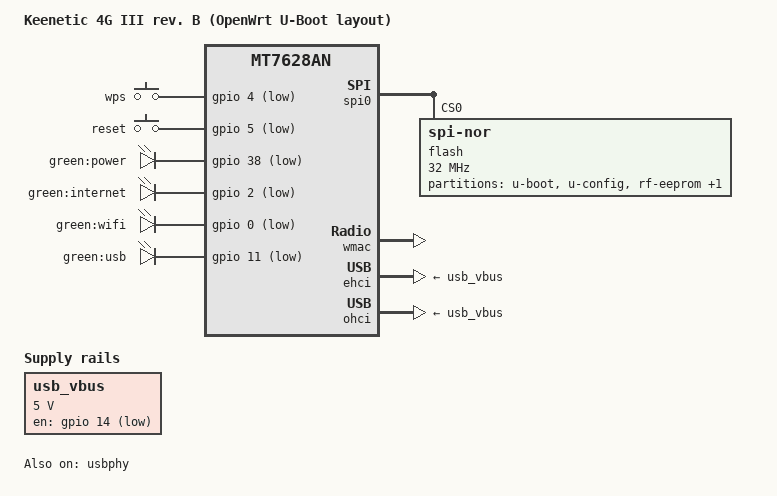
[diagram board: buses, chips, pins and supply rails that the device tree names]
#include "mt7628an.dtsi"

#include <dt-bindings/gpio/gpio.h>
#include <dt-bindings/input/input.h>

/ {
	compatible = "zyxel,keenetic-4g-iii-b-ubootmod", "mediatek,mt7628an-soc";
	model = "Keenetic 4G III rev. B (OpenWrt U-Boot layout)";

	aliases {
		led-boot = &led_power;
		led-failsafe = &led_power;
		led-running = &led_power;
		led-upgrade = &led_power;
	};

	chosen {
		bootargs = "console=ttyS0,57600n8";
	};

	gpio-keys {
		compatible = "gpio-keys";

		wps {
			label = "wps";
			linux,code = <KEY_WPS_BUTTON>;
			gpios = <&gpio 4 GPIO_ACTIVE_LOW>;
		};

		reset {
			label = "reset";
			linux,code = <KEY_RESTART>;
			gpios = <&gpio 5 GPIO_ACTIVE_LOW>;
		};
	};

	leds {
		compatible = "gpio-leds";

		led_power: power {
			label = "green:power";
			gpios = <&gpio 38 GPIO_ACTIVE_LOW>;
		};


		internet {
			label = "green:internet";
			gpios = <&gpio 2 GPIO_ACTIVE_LOW>;
		};


		wifi {
			label = "green:wifi";
			gpios = <&gpio 0 GPIO_ACTIVE_LOW>;
		};

		usb {
			label = "green:usb";
			gpios = <&gpio 11 GPIO_ACTIVE_LOW>;
			linux,default-trigger = "netdev";
		};
	};

	usb_vbus: regulator {
		compatible = "regulator-fixed";
		regulator-name = "usb_vbus";
		regulator-min-microvolt = <5000000>;
		regulator-max-microvolt = <5000000>;
		gpios = <&gpio 14 GPIO_ACTIVE_LOW>;
		regulator-always-on;
		regulator-boot-on;
		enable-active-low;
	};
};

&spi0 {
	status = "okay";

	flash@0 {
		compatible = "jedec,spi-nor";
		reg = <0>;
		spi-max-frequency = <32000000>;
		#address-cells = <1>;
		#size-cells = <1>;
		partitions {
			compatible = "fixed-partitions";
			#address-cells = <1>;
			#size-cells = <1>;

			partition@0 {
				label = "u-boot";
				reg = <0x0 0x30000>;
				read-only;
			};

			partition@30000 {
				label = "u-config";
				reg = <0x30000 0x10000>;
				read-only;
			};

			factory: partition@40000 {
				label = "rf-eeprom";
				reg = <0x40000 0x10000>;
				read-only;
			};

			firmware1: partition@50000 {
				label = "firmware";
				reg = <0x50000 0xfb0000>;
				compatible = "denx,uimage";
			};
		};
	};
};

&ethernet {
	nvmem-cells = <&macaddr_factory_4>;
	nvmem-cell-names = "mac-address";
};

&esw {
	mediatek,portmap = <0x11>;
};

&wmac {
	status = "okay";
	mediatek,mtd-eeprom = <&factory 0x0>;
};

&pcie {
	status = "disabled";
};

&state_default {
	gpio {
		groups = "gpio", "i2s", "refclk", "spi cs1";
		function = "gpio";
	};
};

&ehci {
	status = "okay";
	vbus-supply = <&usb_vbus>;
};

&ohci {
	status = "okay";
	vbus-supply = <&usb_vbus>;
};

&usbphy {
	status = "okay";
	vbus-supply = <&usb_vbus>;
};

&factory {
	compatible = "nvmem-cells";
	#address-cells = <1>;
	#size-cells = <1>;

	macaddr_factory_4: macaddr@4 {
		reg = <0x4 0x6>;
	};
};
